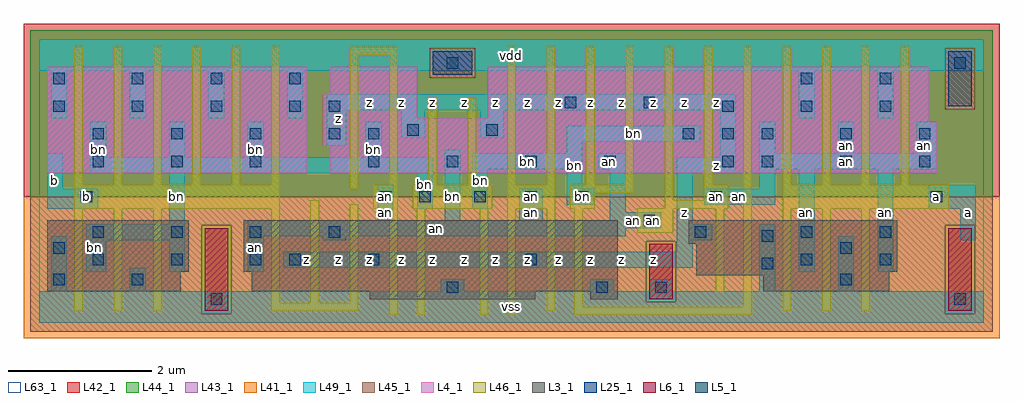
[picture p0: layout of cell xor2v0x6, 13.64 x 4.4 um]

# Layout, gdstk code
import gdstk
lib = gdstk.Library(unit=1e-6, precision=1e-09)
def R(c, l, rs):  # rectangles x0, y0, x1, y1
    for r in rs: c.add(gdstk.rectangle(r[:2], r[2:], *l))
def A(c, l, x, y, w, h, nx, ny, dx, dy):  # array of equal rectangles
    R(c, l, [(x+i*dx, y+j*dy, x+i*dx+w, y+j*dy+h) for i in range(nx) for j in range(ny)])
L3_1 = (3, 1)
L4_1 = (4, 1)
L5_1 = (5, 1)
L6_1 = (6, 1)
L25_1 = (25, 1)
L41_1 = (41, 1)
L42_1 = (42, 1)
L43_1 = (43, 1)
L44_1 = (44, 1)
L45_1 = (45, 1)
L46_1 = (46, 1)
L49_1 = (49, 1)
L63_1 = (63, 1)

xor2v0x6 = lib.new_cell('xor2v0x6')
R(xor2v0x6, L3_1, [(4.62,0.33,6.93,0.44), (7.7,0.33,8.085,0.44), (0.11,0.44,1.98,0.715), (2.97,0.44,8.085,0.715), (10.12,0.44,11.88,0.66), (9.185,0.66,11.88,0.715), (0.11,0.715,2.09,1.43), (2.86,0.715,8.085,1.43), (9.185,0.715,11.99,1.1), (9.075,1.1,11.99,1.43)])
R(xor2v0x6, L4_1, [(0.11,2.09,3.74,3.575), (4.07,2.09,12.54,2.475), (3.96,2.475,12.54,2.805), (3.96,2.805,12.43,2.86), (3.96,2.86,5.28,3.19), (6.27,2.86,12.43,3.575), (4.07,3.19,5.28,3.575)])
R(xor2v0x6, L5_1, [(12.705,3.025,13.035,3.795), (5.5,3.465,6.05,3.795)])
R(xor2v0x6, L6_1, [(2.31,0.165,2.64,1.32), (12.705,0.165,13.035,1.32), (8.525,0.33,8.855,1.1)])
A(xor2v0x6, L25_1, 0.745, 0.8, 0.16, 0.16, 3, 2, 1.1, 1.375)
A(xor2v0x6, L25_1, 0.745, 1.185, 0.16, 0.16, 4, 2, 1.1, 1.375)
A(xor2v0x6, L25_1, 6.08, 1.68, 0.16, 0.16, 3, 1, 0.715, 0)
A(xor2v0x6, L25_1, 4.595, 2.175, 0.16, 0.16, 4, 1, 1.1, 0)
A(xor2v0x6, L25_1, 10.095, 2.175, 0.16, 0.16, 3, 1, 1.1, 0)
A(xor2v0x6, L25_1, 8.995, 2.56, 0.16, 0.16, 3, 1, 0.55, 0)
A(xor2v0x6, L25_1, 0.195, 2.945, 0.16, 0.16, 4, 2, 1.1, 0.385)
A(xor2v0x6, L25_1, 9.545, 2.945, 0.16, 0.16, 3, 1, 1.1, 0)
R(xor2v0x6, L25_1, [(2.395,0.25,2.555,0.41), (12.79,0.25,12.95,0.41), (5.695,0.415,5.855,0.575), (7.785,0.415,7.945,0.575), (8.61,0.415,8.77,0.575), (0.195,0.525,0.355,0.685), (1.295,0.525,1.455,0.685), (11.195,0.525,11.355,0.685), (10.095,0.745,10.255,0.905), (3.495,0.8,3.655,0.96), (4.595,0.8,4.755,0.96), (6.795,0.8,6.955,0.96), (10.645,0.8,10.805,0.96), (11.745,0.8,11.905,0.96), (0.195,0.965,0.355,1.125), (11.195,0.965,11.355,1.125), (10.095,1.13,10.255,1.29), (9.16,1.185,9.32,1.345), (10.645,1.185,10.805,1.345), (11.745,1.185,11.905,1.345), (8.445,1.35,8.605,1.51), (0.58,1.68,0.74,1.84), (4.76,1.68,4.92,1.84), (5.31,1.68,5.47,1.84), (9.38,1.68,9.54,1.84), (12.46,1.68,12.62,1.84), (9.545,2.175,9.705,2.335), (4.595,2.56,4.755,2.72), (11.195,2.56,11.355,2.72), (12.295,2.56,12.455,2.72), (5.145,2.615,5.305,2.775), (6.245,2.615,6.405,2.775), (4.045,2.945,4.205,3.105), (7.345,3,7.505,3.16), (8.445,3,8.605,3.16), (10.645,3.33,10.805,3.49), (11.745,3.33,11.905,3.49), (5.695,3.55,5.855,3.71), (12.79,3.55,12.95,3.71)])
R(xor2v0x6, L41_1, [(-0.22,-0.22,13.42,1.76)])
R(xor2v0x6, L42_1, [(-0.22,1.76,13.42,4.18)])
R(xor2v0x6, L43_1, [(2.31,0.165,2.64,1.32), (12.705,0.165,13.035,1.32), (4.62,0.33,6.93,0.44), (7.7,0.33,8.085,0.44), (8.525,0.33,8.855,1.1), (0.11,0.44,1.98,0.715), (2.97,0.44,8.085,0.715), (10.12,0.44,11.88,0.66), (9.185,0.66,11.88,0.715), (0.11,0.715,2.09,1.43), (2.86,0.715,8.085,1.43), (9.185,0.715,11.99,1.1), (9.075,1.1,11.99,1.43), (0.11,2.09,3.74,3.575), (4.07,2.09,12.54,2.475), (3.96,2.475,12.54,2.805), (3.96,2.805,12.43,2.86), (3.96,2.86,5.28,3.19), (6.27,2.86,12.43,3.575), (12.705,3.025,13.035,3.795), (4.07,3.19,5.28,3.575), (5.5,3.465,6.05,3.795)])
R(xor2v0x6, L44_1, [(2.27,0.125,2.68,1.36), (12.665,0.125,13.075,1.36), (8.485,0.29,8.895,1.14), (-0.125,1.76,13.325,2.985), (-0.125,2.985,12.665,3.425), (13.075,2.985,13.325,3.835), (-0.125,3.425,5.46,3.835), (6.09,3.425,12.665,3.835), (-0.125,3.835,13.325,4.085)])
R(xor2v0x6, L45_1, [(-0.125,-0.125,13.325,0.125), (-0.125,0.125,2.27,1.36), (2.68,0.125,12.665,0.29), (13.075,0.125,13.325,1.36), (2.68,0.29,8.485,1.14), (8.895,0.29,12.665,1.14), (2.68,1.14,12.665,1.36), (-0.125,1.36,13.325,1.76), (12.665,2.985,13.075,3.835), (5.46,3.425,6.09,3.835)])
A(xor2v0x6, L46_1, 0.49, 0.16, 0.12, 1.43, 3, 1, 0.55, 0)
A(xor2v0x6, L46_1, 10.39, 0.16, 0.12, 1.43, 3, 1, 0.55, 0)
A(xor2v0x6, L46_1, 0.49, 1.93, 0.12, 1.925, 6, 1, 0.55, 0)
A(xor2v0x6, L46_1, 6.54, 1.93, 0.12, 1.925, 4, 1, 0.55, 0)
A(xor2v0x6, L46_1, 10.39, 1.93, 0.12, 1.925, 4, 1, 0.55, 0)
R(xor2v0x6, L46_1, [(4.89,0.105,5.01,1.59), (5.275,0.105,5.395,1.59), (6.155,0.105,6.275,1.59), (6.54,0.105,6.66,1.59), (7.475,0.105,9.96,0.225), (3.24,0.16,4.46,0.28), (7.09,0.16,7.21,1.59), (7.475,0.225,7.595,1.59), (9.84,0.225,9.96,3.855), (3.24,0.28,3.36,1.59), (3.79,0.28,3.91,1.71), (4.34,0.28,4.46,1.655), (9.455,0.435,9.575,1.59), (8.355,1.26,8.86,1.59), (0.49,1.59,3.36,1.93), (4.67,1.59,5.01,1.93), (5.22,1.59,6.33,1.93), (6.54,1.59,7.21,1.93), (7.42,1.59,7.76,1.81), (8.355,1.59,9.63,1.6), (10.39,1.59,12.71,1.93), (8.74,1.6,9.63,1.71), (8.74,1.71,8.86,3.855), (9.29,1.71,9.63,1.93), (7.42,1.81,8.31,1.93), (4.34,1.865,4.46,3.735), (4.89,1.93,5.01,3.735), (5.44,1.93,5.56,3.14), (5.99,1.93,6.11,3.14), (9.29,1.93,9.41,3.855), (4.34,3.735,5.01,3.855)])
A(xor2v0x6, L49_1, 0.715, 2.31, 0.22, 0.495, 3, 1, 1.1, 0)
A(xor2v0x6, L49_1, 0.165, 2.86, 0.22, 0.66, 4, 1, 1.1, 0)
R(xor2v0x6, L49_1, [(0,0,13.2,0.44), (0.165,0.44,0.385,1.21), (1.265,0.44,1.485,0.77), (5.61,0.44,5.94,0.605), (7.7,0.44,8.03,0.605), (8.525,0.44,8.855,0.605), (10.065,0.44,10.285,1.375), (11.165,0.44,11.385,1.21), (0.66,0.715,0.935,1.155), (1.815,0.715,2.035,1.155), (2.915,0.715,3.135,1.21), (10.615,0.715,10.835,2.145), (11.715,0.715,11.935,2.145), (3.41,0.77,9.13,0.99), (8.91,0.99,9.13,1.155), (0.66,1.155,2.035,1.375), (3.96,1.155,4.29,1.21), (8.91,1.155,9.405,1.375), (12.87,1.155,13.09,1.595), (2.915,1.21,8.195,1.32), (2.915,1.32,8.69,1.43), (1.815,1.375,2.035,2.09), (8.91,1.375,9.13,2.09), (4.73,1.43,4.95,1.925), (5.665,1.43,5.885,2.42), (6.71,1.43,7.04,1.87), (7.975,1.43,8.69,1.54), (7.975,1.54,8.195,2.145), (0.11,1.595,0.825,1.87), (5.28,1.595,5.5,2.09), (6.05,1.595,6.27,2.145), (12.43,1.595,13.09,1.925), (7.37,1.65,7.755,1.87), (9.295,1.65,10.285,1.87), (0.11,1.87,0.33,2.365), (7.37,1.87,7.59,2.145), (10.065,1.87,10.285,2.145), (0.715,2.09,5.5,2.31), (8.91,2.09,9.735,2.31), (6.05,2.145,7.59,2.365), (7.81,2.145,8.195,2.365), (10.065,2.145,12.54,2.365), (4.565,2.31,4.785,2.805), (9.515,2.31,9.735,2.97), (7.37,2.365,7.59,2.53), (10.065,2.365,10.285,2.805), (11.165,2.365,11.385,2.805), (12.265,2.365,12.54,2.805), (4.015,2.475,4.29,2.97), (7.37,2.53,9.24,2.75), (5.06,2.585,5.39,2.97), (6.16,2.585,6.49,2.97), (10.615,2.86,10.835,3.52), (11.715,2.86,11.935,3.52), (4.015,2.97,9.735,3.19), (0,3.52,13.2,3.96)])
R(xor2v0x6, L63_1, [(0,0,13.2,3.96)])
xor2v0x6.add(gdstk.Label('an', (4.84,1.76), layer=49, texttype=1))
xor2v0x6.add(gdstk.Label('bn', (5.775,1.76), layer=46, texttype=1))
xor2v0x6.add(gdstk.Label('an', (6.875,1.76), layer=49, texttype=1))
xor2v0x6.add(gdstk.Label('bn', (7.59,1.76), layer=49, texttype=1))
xor2v0x6.add(gdstk.Label('an', (8.58,1.43), layer=49, texttype=1))
xor2v0x6.add(gdstk.Label('an', (9.46,1.76), layer=49, texttype=1))
xor2v0x6.add(gdstk.Label('bn', (0.77,1.045), layer=49, texttype=1))
xor2v0x6.add(gdstk.Label('b', (0.66,1.76), layer=49, texttype=1))
xor2v0x6.add(gdstk.Label('b', (0.22,1.98), layer=49, texttype=1))
xor2v0x6.add(gdstk.Label('bn', (0.825,2.42), layer=49, texttype=1))
xor2v0x6.add(gdstk.Label('bn', (1.925,1.76), layer=49, texttype=1))
xor2v0x6.add(gdstk.Label('z', (5.06,0.88), layer=49, texttype=1))
xor2v0x6.add(gdstk.Label('z', (4.62,0.88), layer=49, texttype=1))
xor2v0x6.add(gdstk.Label('z', (4.18,0.88), layer=49, texttype=1))
xor2v0x6.add(gdstk.Label('z', (3.74,0.88), layer=49, texttype=1))
xor2v0x6.add(gdstk.Label('an', (3.025,1.045), layer=49, texttype=1))
xor2v0x6.add(gdstk.Label('an', (4.84,1.54), layer=49, texttype=1))
xor2v0x6.add(gdstk.Label('bn', (4.675,2.42), layer=49, texttype=1))
xor2v0x6.add(gdstk.Label('bn', (3.025,2.42), layer=49, texttype=1))
xor2v0x6.add(gdstk.Label('z', (4.18,2.86), layer=49, texttype=1))
xor2v0x6.add(gdstk.Label('z', (5.06,3.08), layer=49, texttype=1))
xor2v0x6.add(gdstk.Label('z', (4.62,3.08), layer=49, texttype=1))
xor2v0x6.add(gdstk.Label('vss', (6.6,0.22), layer=49, texttype=1))
xor2v0x6.add(gdstk.Label('z', (5.5,0.88), layer=49, texttype=1))
xor2v0x6.add(gdstk.Label('z', (5.94,0.88), layer=49, texttype=1))
xor2v0x6.add(gdstk.Label('z', (6.38,0.88), layer=49, texttype=1))
xor2v0x6.add(gdstk.Label('z', (6.82,0.88), layer=49, texttype=1))
xor2v0x6.add(gdstk.Label('z', (7.26,0.88), layer=49, texttype=1))
xor2v0x6.add(gdstk.Label('z', (7.7,0.88), layer=49, texttype=1))
xor2v0x6.add(gdstk.Label('an', (6.875,1.54), layer=49, texttype=1))
xor2v0x6.add(gdstk.Label('bn', (5.39,1.925), layer=49, texttype=1))
xor2v0x6.add(gdstk.Label('bn', (6.82,2.255), layer=49, texttype=1))
xor2v0x6.add(gdstk.Label('bn', (6.16,1.98), layer=49, texttype=1))
xor2v0x6.add(gdstk.Label('an', (5.775,1.815), layer=49, texttype=1))
xor2v0x6.add(gdstk.Label('bn', (7.48,2.2), layer=49, texttype=1))
xor2v0x6.add(gdstk.Label('z', (7.7,3.08), layer=49, texttype=1))
xor2v0x6.add(gdstk.Label('z', (7.26,3.08), layer=49, texttype=1))
xor2v0x6.add(gdstk.Label('z', (6.82,3.08), layer=49, texttype=1))
xor2v0x6.add(gdstk.Label('z', (6.38,3.08), layer=49, texttype=1))
xor2v0x6.add(gdstk.Label('z', (5.94,3.08), layer=49, texttype=1))
xor2v0x6.add(gdstk.Label('z', (5.5,3.08), layer=49, texttype=1))
xor2v0x6.add(gdstk.Label('vdd', (6.6,3.74), layer=49, texttype=1))
xor2v0x6.add(gdstk.Label('z', (8.58,0.88), layer=49, texttype=1))
xor2v0x6.add(gdstk.Label('z', (8.14,0.88), layer=49, texttype=1))
xor2v0x6.add(gdstk.Label('an', (5.555,1.32), layer=49, texttype=1))
xor2v0x6.add(gdstk.Label('z', (9.02,1.54), layer=49, texttype=1))
xor2v0x6.add(gdstk.Label('an', (9.79,1.76), layer=49, texttype=1))
xor2v0x6.add(gdstk.Label('an', (8.305,1.43), layer=49, texttype=1))
xor2v0x6.add(gdstk.Label('z', (9.46,2.2), layer=49, texttype=1))
xor2v0x6.add(gdstk.Label('an', (7.975,2.255), layer=49, texttype=1))
xor2v0x6.add(gdstk.Label('bn', (8.305,2.64), layer=49, texttype=1))
xor2v0x6.add(gdstk.Label('z', (9.46,3.08), layer=49, texttype=1))
xor2v0x6.add(gdstk.Label('z', (9.02,3.08), layer=49, texttype=1))
xor2v0x6.add(gdstk.Label('z', (8.58,3.08), layer=49, texttype=1))
xor2v0x6.add(gdstk.Label('z', (8.14,3.08), layer=49, texttype=1))
xor2v0x6.add(gdstk.Label('a', (12.54,1.76), layer=49, texttype=1))
xor2v0x6.add(gdstk.Label('a', (12.98,1.54), layer=49, texttype=1))
xor2v0x6.add(gdstk.Label('an', (11.275,2.475), layer=49, texttype=1))
xor2v0x6.add(gdstk.Label('an', (12.375,2.475), layer=49, texttype=1))
xor2v0x6.add(gdstk.Label('an', (11.275,2.255), layer=49, texttype=1))
xor2v0x6.add(gdstk.Label('an', (11.825,1.54), layer=49, texttype=1))
xor2v0x6.add(gdstk.Label('an', (10.725,1.54), layer=49, texttype=1))

lib.write_gds('xor2v0x6.gds')
